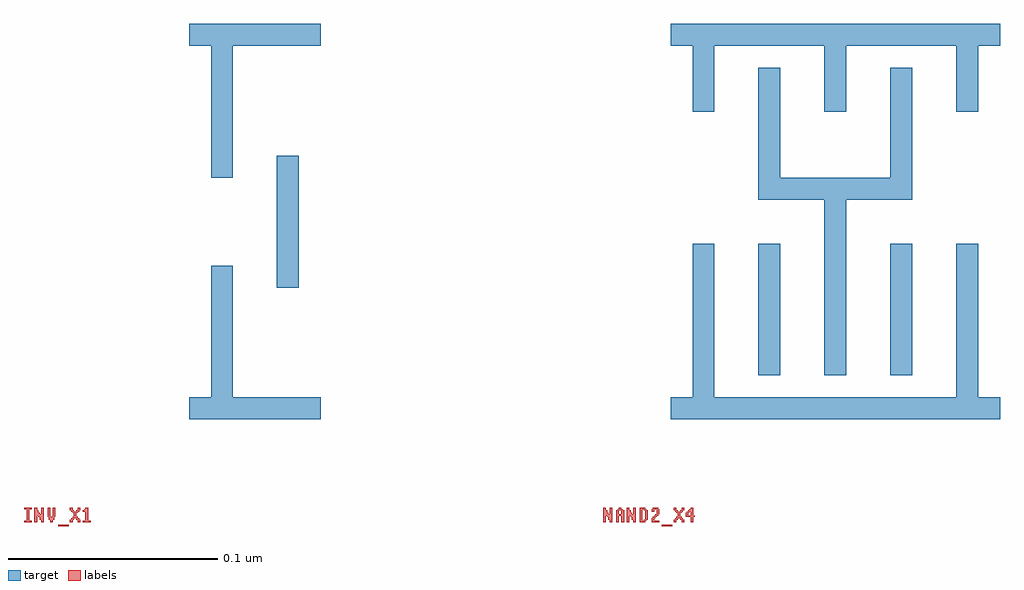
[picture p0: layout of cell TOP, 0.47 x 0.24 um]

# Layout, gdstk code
import gdstk
lib = gdstk.Library(unit=1e-6, precision=1e-10)
def R(c, l, rs):  # rectangles x0, y0, x1, y1
    for r in rs: c.add(gdstk.rectangle(r[:2], r[2:], *l))
def P(c, l, *ps):  # polygons
    for p in ps: c.add(gdstk.Polygon(p, *l))
target = (1, 0)
labels = (10, 0)

inv_x1 = lib.new_cell('INV_X1')
R(inv_x1, target, [(0.042,0.063,0.0525,0.126)])
P(inv_x1, target, [(0.021,0.1785),(0.063,0.1785),(0.063,0.189),(0,0.189),(0,0.1785),(0.0105,0.1785),(0.0105,0.1155),(0.021,0.1155)],
  [(0.063,0.0105),(0.021,0.0105),(0.021,0.0735),(0.0105,0.0735),(0.0105,0.0105),(0,0.0105),(0,0),(0.063,0)])

nand2_x4 = lib.new_cell('NAND2_X4')
R(nand2_x4, target, [(0.042,0.021,0.0525,0.084), (0.105,0.021,0.1155,0.084)])
P(nand2_x4, target, [(0.021,0.1785),(0.0735,0.1785),(0.0735,0.147),(0.084,0.147),(0.084,0.1785),(0.1365,0.1785),(0.1365,0.147),(0.147,0.147),(0.147,0.1785),(0.1575,0.1785),(0.1575,0.189),(0,0.189),(0,0.1785),(0.0105,0.1785),(0.0105,0.147),(0.021,0.147)],
  [(0.084,0.105),(0.1155,0.105),(0.1155,0.168),(0.105,0.168),(0.105,0.1155),(0.0525,0.1155),(0.0525,0.168),(0.042,0.168),(0.042,0.105),(0.0735,0.105),(0.0735,0.021),(0.084,0.021)],
  [(0.1575,0.0105),(0.147,0.0105),(0.147,0.084),(0.1365,0.084),(0.1365,0.0105),(0.021,0.0105),(0.021,0.084),(0.0105,0.084),(0.0105,0.0105),(0,0.0105),(0,0),(0.1575,0)])

top = lib.new_cell('TOP')
R(top, labels, [(-0.0941,-0.1455,-0.0891,-0.1449), (0.1946,-0.1455,0.1996,-0.1449)])
P(top, labels, [(-0.1104,-0.143),(-0.1104,-0.1436),(-0.1066,-0.1436),(-0.1066,-0.143),(-0.1079,-0.143),(-0.1079,-0.1374),(-0.1066,-0.1374),(-0.1066,-0.1367),(-0.1104,-0.1367),(-0.1104,-0.1374),(-0.1091,-0.1374),(-0.1091,-0.143)],
  [(-0.1041,-0.1436),(-0.1041,-0.1405),(-0.1035,-0.1405),(-0.1035,-0.1411),(-0.1029,-0.1411),(-0.1029,-0.1424),(-0.1022,-0.1424),(-0.1022,-0.1436),(-0.101,-0.1436),(-0.101,-0.1367),(-0.1022,-0.1367),(-0.1022,-0.1399),(-0.1029,-0.1399),(-0.1029,-0.1392),(-0.1035,-0.1392),(-0.1035,-0.138),(-0.1041,-0.138),(-0.1041,-0.1367),(-0.1054,-0.1367),(-0.1054,-0.1436)],
  [(-0.0985,-0.1411),(-0.0985,-0.1424),(-0.0979,-0.1424),(-0.0979,-0.1436),(-0.0966,-0.1436),(-0.0966,-0.1424),(-0.096,-0.1424),(-0.096,-0.1411),(-0.0954,-0.1411),(-0.0954,-0.1367),(-0.0966,-0.1367),(-0.0966,-0.1411),(-0.0979,-0.1411),(-0.0979,-0.1367),(-0.0991,-0.1367),(-0.0991,-0.1411)],
  [(-0.0879,-0.138),(-0.0879,-0.1386),(-0.0872,-0.1386),(-0.0872,-0.1392),(-0.0866,-0.1392),(-0.0866,-0.1411),(-0.0872,-0.1411),(-0.0872,-0.1417),(-0.0879,-0.1417),(-0.0879,-0.1424),(-0.0885,-0.1424),(-0.0885,-0.1436),(-0.0872,-0.1436),(-0.0872,-0.1424),(-0.0866,-0.1424),(-0.0866,-0.1417),(-0.0854,-0.1417),(-0.0854,-0.1424),(-0.0847,-0.1424),(-0.0847,-0.1436),(-0.0835,-0.1436),(-0.0835,-0.1424),(-0.0841,-0.1424),(-0.0841,-0.1417),(-0.0847,-0.1417),(-0.0847,-0.1411),(-0.0854,-0.1411),(-0.0854,-0.1392),(-0.0847,-0.1392),(-0.0847,-0.1386),(-0.0841,-0.1386),(-0.0841,-0.138),(-0.0835,-0.138),(-0.0835,-0.1367),(-0.0847,-0.1367),(-0.0847,-0.138),(-0.0854,-0.138),(-0.0854,-0.1386),(-0.0866,-0.1386),(-0.0866,-0.138),(-0.0872,-0.138),(-0.0872,-0.1367),(-0.0885,-0.1367),(-0.0885,-0.138)],
  [(-0.0816,-0.138),(-0.0822,-0.138),(-0.0822,-0.1386),(-0.081,-0.1386),(-0.081,-0.143),(-0.0822,-0.143),(-0.0822,-0.1436),(-0.0785,-0.1436),(-0.0785,-0.143),(-0.0797,-0.143),(-0.0797,-0.1367),(-0.081,-0.1367),(-0.081,-0.1374),(-0.0816,-0.1374)],
  [(0.1677,-0.1436),(0.1677,-0.1405),(0.1684,-0.1405),(0.1684,-0.1411),(0.169,-0.1411),(0.169,-0.1424),(0.1696,-0.1424),(0.1696,-0.1436),(0.1709,-0.1436),(0.1709,-0.1367),(0.1696,-0.1367),(0.1696,-0.1399),(0.169,-0.1399),(0.169,-0.1392),(0.1684,-0.1392),(0.1684,-0.138),(0.1677,-0.138),(0.1677,-0.1367),(0.1665,-0.1367),(0.1665,-0.1436)],
  [(0.174,-0.1436),(0.174,-0.1405),(0.1752,-0.1405),(0.1752,-0.1436),(0.1765,-0.1436),(0.1765,-0.138),(0.1759,-0.138),(0.1759,-0.1374),(0.1752,-0.1374),(0.1752,-0.1367),(0.174,-0.1367),(0.174,-0.1374),(0.1734,-0.1374),(0.1734,-0.138),(0.1727,-0.138),(0.1727,-0.1399),(0.174,-0.1399),(0.174,-0.138),(0.1752,-0.138),(0.1752,-0.1399),(0.174,-0.1399),(0.1727,-0.1399),(0.1727,-0.1436)],
  [(0.179,-0.1436),(0.179,-0.1405),(0.1796,-0.1405),(0.1796,-0.1411),(0.1802,-0.1411),(0.1802,-0.1424),(0.1809,-0.1424),(0.1809,-0.1436),(0.1821,-0.1436),(0.1821,-0.1367),(0.1809,-0.1367),(0.1809,-0.1399),(0.1802,-0.1399),(0.1802,-0.1392),(0.1796,-0.1392),(0.1796,-0.138),(0.179,-0.138),(0.179,-0.1367),(0.1777,-0.1367),(0.1777,-0.1436)],
  [(0.1871,-0.1424),(0.1877,-0.1424),(0.1877,-0.138),(0.1871,-0.138),(0.1871,-0.1374),(0.1865,-0.1374),(0.1865,-0.1367),(0.184,-0.1367),(0.184,-0.143),(0.1852,-0.143),(0.1852,-0.1374),(0.1859,-0.1374),(0.1859,-0.138),(0.1865,-0.138),(0.1865,-0.1424),(0.1859,-0.1424),(0.1859,-0.143),(0.1852,-0.143),(0.184,-0.143),(0.184,-0.1436),(0.1865,-0.1436),(0.1865,-0.143),(0.1871,-0.143)],
  [(0.1896,-0.1386),(0.1909,-0.1386),(0.1909,-0.1374),(0.1921,-0.1374),(0.1921,-0.1399),(0.1915,-0.1399),(0.1915,-0.1405),(0.1909,-0.1405),(0.1909,-0.1411),(0.1902,-0.1411),(0.1902,-0.1417),(0.1896,-0.1417),(0.1896,-0.1436),(0.1934,-0.1436),(0.1934,-0.143),(0.1909,-0.143),(0.1909,-0.1417),(0.1915,-0.1417),(0.1915,-0.1411),(0.1921,-0.1411),(0.1921,-0.1405),(0.1927,-0.1405),(0.1927,-0.1399),(0.1934,-0.1399),(0.1934,-0.1374),(0.1927,-0.1374),(0.1927,-0.1367),(0.1902,-0.1367),(0.1902,-0.1374),(0.1896,-0.1374)],
  [(0.2009,-0.138),(0.2009,-0.1386),(0.2015,-0.1386),(0.2015,-0.1392),(0.2021,-0.1392),(0.2021,-0.1411),(0.2015,-0.1411),(0.2015,-0.1417),(0.2009,-0.1417),(0.2009,-0.1424),(0.2002,-0.1424),(0.2002,-0.1436),(0.2015,-0.1436),(0.2015,-0.1424),(0.2021,-0.1424),(0.2021,-0.1417),(0.2034,-0.1417),(0.2034,-0.1424),(0.204,-0.1424),(0.204,-0.1436),(0.2052,-0.1436),(0.2052,-0.1424),(0.2046,-0.1424),(0.2046,-0.1417),(0.204,-0.1417),(0.204,-0.1411),(0.2034,-0.1411),(0.2034,-0.1392),(0.204,-0.1392),(0.204,-0.1386),(0.2046,-0.1386),(0.2046,-0.138),(0.2052,-0.138),(0.2052,-0.1367),(0.204,-0.1367),(0.204,-0.138),(0.2034,-0.138),(0.2034,-0.1386),(0.2021,-0.1386),(0.2021,-0.138),(0.2015,-0.138),(0.2015,-0.1367),(0.2002,-0.1367),(0.2002,-0.138)],
  [(0.2096,-0.1436),(0.2096,-0.1411),(0.2102,-0.1411),(0.2102,-0.1405),(0.2096,-0.1405),(0.2096,-0.1367),(0.2084,-0.1367),(0.2084,-0.1374),(0.2077,-0.1374),(0.2077,-0.138),(0.2071,-0.138),(0.2071,-0.1386),(0.2065,-0.1386),(0.2065,-0.1392),(0.2059,-0.1392),(0.2059,-0.1405),(0.2071,-0.1405),(0.2071,-0.1392),(0.2077,-0.1392),(0.2077,-0.1386),(0.2084,-0.1386),(0.2084,-0.1405),(0.2071,-0.1405),(0.2059,-0.1405),(0.2059,-0.1411),(0.2084,-0.1411),(0.2084,-0.1436)])
top.add(gdstk.Reference(inv_x1, (-0.0315,-0.0945)))
top.add(gdstk.Reference(nand2_x4, (0.1987,-0.0945)))

lib.write_gds('TOP.gds')
